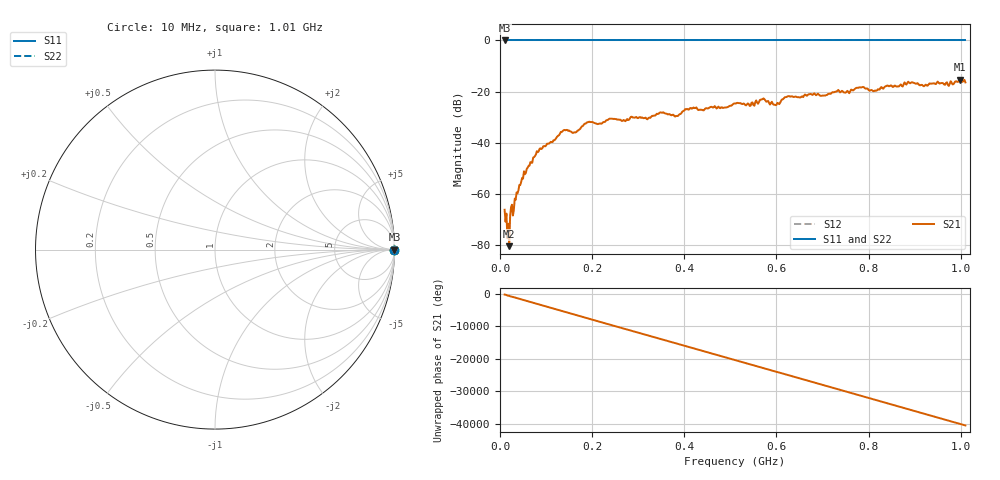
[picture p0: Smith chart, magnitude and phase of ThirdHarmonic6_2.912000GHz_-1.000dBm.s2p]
! 8/17/2025 8:04:48 AM
! C:\ANRITSUVNA\TEMP\TEMP.S2P
! CHANNEL.1
! TR.MEASUREMENT
! RAW.DATA
! RF.CORRECTION.OFF
! AVERAGING.OFF
! IF.BANDWIDTH: 5KHZ
! SWEEPTYPE:  FREQ.SWEEP(Linear)
! Reference Plane Port Info
! PORT:  PORT1  PORT2
! DISTANCE:  0  m  0  m
! TIME:  0  s  0  s
! PHASE.OFFSET:  0  deg.  0  deg.
! LOSS:  0  dB  0  dB
! REF.LOSS:  0  dB  0  dB
! REF.FREQ:  0  Hz  0  Hz
! Power Info
! POWER:  -20  dBm  -20  dBm
! EFF.POWER:  -20  dBm  -20  dBm
! SOURCE.ATTEN:  0  dB  0  dB
! TEST.ATTEN:  0  dB  0  dB
# GHZ S RI R 50.0
! FREQ.GHZ  S11RE  S11IM  S21RE  S21IM  S12RE  S12IM  S22RE  S22IM
!; PortSelection: Port_12
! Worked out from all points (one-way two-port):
!   501 points, 10 MHz to 1.01 GHz, reference 50 ohm
!   highest |S21| = -15.27 dB at 998 MHz (marker M1); lowest = -80.5 dB at 20 MHz (marker M2)
!   lowest |S11| = 0.0 dB at 10 MHz (marker M3)
!   |S11| at or under -10 dB: nowhere
!   |S22| runs from 0.0 to 0.0 dB; largest |S21 - S12| = 1.2
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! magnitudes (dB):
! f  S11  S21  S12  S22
! 10 MHz  0.0  -66.2  0.0  0.0
! 16 MHz  0.0  -77.4  0.0  0.0
! 20 MHz  0.0  -80.5  0.0  0.0
! 28 MHz  0.0  -68.5  0.0  0.0
! 48 MHz  0.0  -53.8  0.0  0.0
! 76 MHz  0.0  -45.2  0.0  0.0
! 136 MHz  0.0  -35.5  0.0  0.0
! 162 MHz  0.0  -35.9  0.0  0.0
! 178 MHz  0.0  -33.6  0.0  0.0
! 344 MHz  0.0  -28.7  0.0  0.0
! 382 MHz  0.0  -29.6  0.0  0.0
! 416 MHz  0.0  -26.7  0.0  0.0
! 510 MHz  0.0  -24.6  0.0  0.0
! 548 MHz  0.0  -24.3  0.0  0.0
! 570 MHz  0.0  -22.9  0.0  0.0
! 596 MHz  0.0  -25.1  0.0  0.0
! 622 MHz  0.0  -22.1  0.0  0.0
! 678 MHz  0.0  -21.3  0.0  0.0
! 814 MHz  0.0  -19.6  0.0  0.0
! 844 MHz  0.0  -17.9  0.0  0.0
! 998 MHz  0.0  -15.3  0.0  0.0
! 1.01 GHz  0.0  -16.4  0.0  0.0
